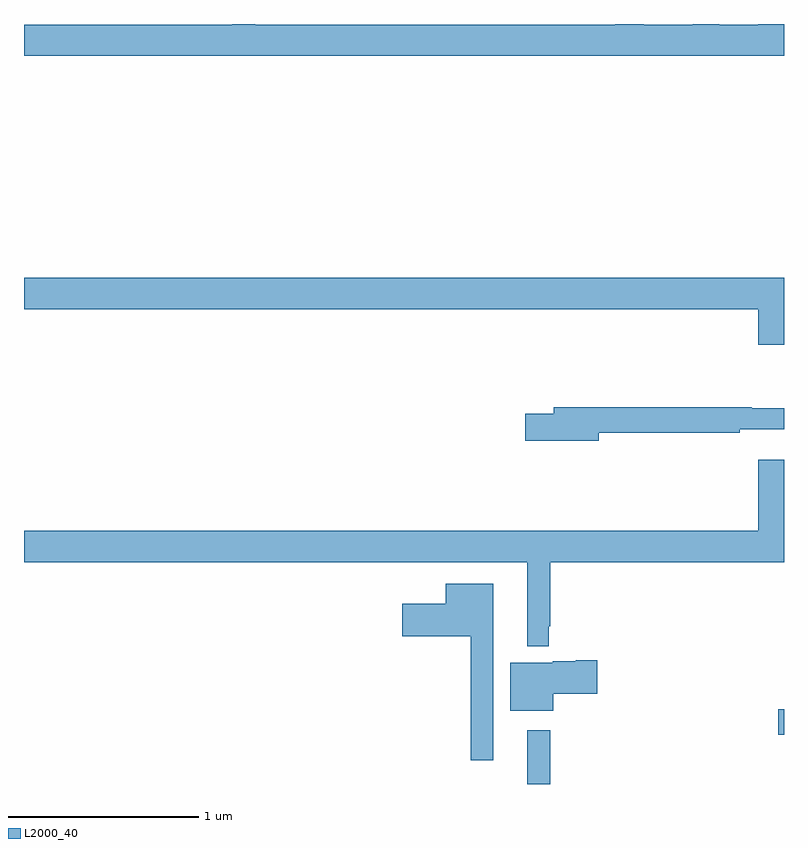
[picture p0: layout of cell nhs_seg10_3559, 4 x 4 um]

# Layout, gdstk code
import gdstk
lib = gdstk.Library(unit=1e-6, precision=1e-09)
def R(c, l, rs):  # rectangles x0, y0, x1, y1
    for r in rs: c.add(gdstk.rectangle(r[:2], r[2:], *l))
def P(c, l, *ps):  # polygons
    for p in ps: c.add(gdstk.Polygon(p, *l))
L2000_40 = (2000, 40)

nhs_seg10_3559 = lib.new_cell('nhs_seg10_3559')
R(nhs_seg10_3559, L2000_40, [(307.649,1280.5,307.771,1280.782), (308.97,1280.759,309,1280.894)])
P(nhs_seg10_3559, L2000_40, [(309,1284.5),(308.864,1284.5),(308.864,1284.496),(308.659,1284.496),(308.659,1284.5),(308.519,1284.5),(308.519,1284.496),(308.263,1284.496),(308.263,1284.5),(308.111,1284.5),(308.111,1284.496),(306.217,1284.496),(306.217,1284.5),(306.095,1284.5),(306.095,1284.496),(305,1284.496),(305,1284.332),(309,1284.332)],
  [(309,1283.164),(305,1283.164),(305,1283),(308.864,1283),(308.864,1282.812),(309,1282.812)],
  [(308.026,1282.348),(308.768,1282.348),(308.768,1282.367),(309,1282.367),(309,1282.477),(308.831,1282.477),(308.831,1282.484),(307.787,1282.484),(307.787,1282.448),(307.638,1282.448),(307.638,1282.306),(308.026,1282.306)],
  [(307.763,1281.331),(307.771,1281.331),(307.771,1281.668),(309,1281.668),(309,1282.207),(308.864,1282.207),(308.864,1281.832),(305,1281.832),(305,1281.668),(307.649,1281.668),(307.649,1281.224),(307.763,1281.224)],
  [(307.471,1281.553),(307.22,1281.553),(307.22,1281.448),(306.99,1281.448),(306.99,1281.278),(307.35,1281.278),(307.35,1280.625),(307.471,1280.625)],
  [(307.786,1280.974),(308.017,1280.974),(308.017,1281.152),(307.904,1281.152),(307.904,1281.145),(307.782,1281.145),(307.782,1281.139),(307.559,1281.139),(307.559,1280.885),(307.786,1280.885)])

lib.write_gds('nhs_seg10_3559.gds')
